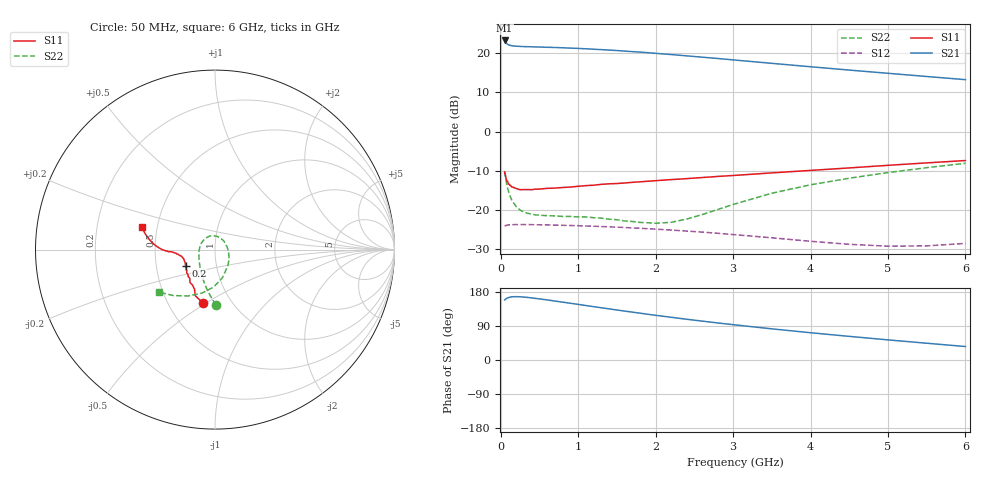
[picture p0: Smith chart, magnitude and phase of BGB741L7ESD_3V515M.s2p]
!  Infineon Technologies AG
!  BGB741L7ESD
!  Vce = 3.5V, Ic = 15.0mA
!  DATUM: 30.06.2009 10:09:32
# GHz  S  MA  R  50
!f  S11  S21  S12  S22
!GHz  Mag  Ang  Mag  Ang  Mag  Ang  Mag  Ang
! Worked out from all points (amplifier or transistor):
!   44 points, 50 MHz to 6 GHz, reference 50 ohm
!   highest |S21| = 23.3 dB at 50 MHz (marker M1)
!   |S21| within 3 dB of that: start of sweep to 1.812 GHz
!   unconditionally stable (mu >= 1): 196.9 MHz to end of sweep
!   at 120 MHz: K = 0.97, MSG = 22.9 dB, |S12| = -23.8 dB
!   at 1 GHz: K = 1.04, MAG = 21.5 dB, |S12| = -24.1 dB
!   at 6 GHz: K = 1.98, MAG = 15.3 dB, |S12| = -28.6 dB
!   S11 on the Smith chart (normalised r, x): 50 MHz: 0.74, -0.48; 200 MHz: 0.71, -0.13; 6 GHz: 0.41, +0.12
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0.05  0.3041 -103.1  14.62 158.5  0.06174 17.9  0.3087 -89.1
0.06  0.2792 -113.3  13.96 159.9  0.06277 15.1  0.2639 -94.9
0.07  0.2484 -117.3  13.52 161.7  0.06326 12.8  0.232 -100.3
0.08  0.233 -122.9  13.22 162.9  0.06372 11.1  0.2075 -105.0
0.1  0.2131 -131.2  12.85 164.6  0.06423 8.8  0.1727 -113.3
0.14  0.1961 -143.1  12.53 166.6  0.06467 5.8  0.135 -127.2
0.2  0.1874 -150.8  12.35 167.2  0.06487 3.3  0.11 -143.2
0.35  0.1816 -161.8  12.17 165.1  0.06481 0.4  0.09023 -172.0
0.7  0.1898 -168.5  11.89 155.6  0.06384 -3.2  0.08366 147.6
1.1  0.204 -171.9  11.44 143.7  0.0622 -5.8  0.0812 113.4
1.4  0.2151 -173.6  11.02 134.9  0.06064 -7.4  0.07588 90.0
1.6  0.2204 -175.0  10.69 129.1  0.05945 -8.3  0.07203 72.9
1.9  0.2319 -176.1  10.2 120.6  0.05738 -9.5  0.0684 44.1
2.2  0.2435 -177.1  9.662 112.8  0.05514 -10.4  0.06924 11.9
2.4  0.2505 -177.3  9.294 107.5  0.05356 -10.8  0.07618 -9.0
2.8  0.2671 -178.3  8.603 97.8  0.05018 -11.1  0.101 -40.9
3.5  0.2967 179.8  7.457 82.2  0.04389 -9.2  0.163 -75.5
4  0.3192 177.5  6.745 72.0  0.03964 -5.7  0.2088 -92.1
4.5  0.3432 174.8  6.115 62.3  0.03624 0.5  0.2536 -106.8
5  0.3706 171.2  5.561 53.1  0.03433 9.2  0.2993 -120.3
5.5  0.3981 167.3  5.061 44.3  0.03462 19.1  0.3458 -132.2
6  0.4266 163.2  4.614 35.5  0.03722 28.2  0.3936 -143.1
